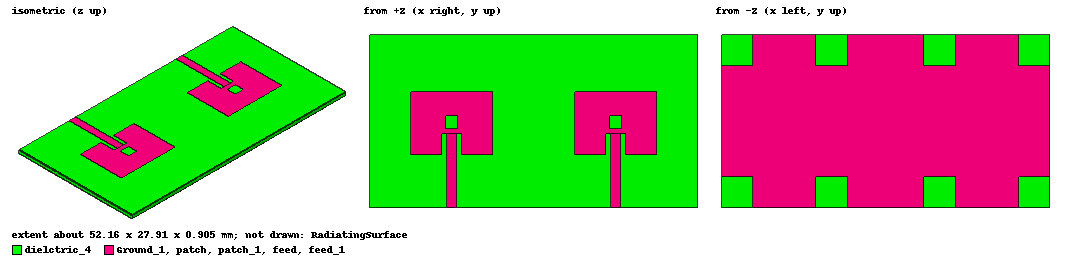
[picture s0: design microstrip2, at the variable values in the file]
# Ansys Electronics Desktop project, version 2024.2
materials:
  vacuum: permittivity=1
  copper: permeability=0.999991 conductivity=58000000
  FR4_epoxy: permittivity=4.4 dielectric_loss_tangent=0.02

design microstrip2 (HFSS, HFSS Modal Network, model units mm)
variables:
  T_diel = 0.8mm
  L = 9.99mm
  W = 13.04mm
  T = 0.035mm
  L_feed = 11.74mm
  W_feed = 1.53mm
  W_g = 2*W
  L_g = 1.5*L_feed+L
  T_g = T
  partial = 0.35
  L_offset = partial*L/2
  W_slot = 2*W_feed
  L_slot = L/2-L_offset
  G_slot_W = 5mm
  G_slot_L = 5mm
  G_slot_T = T_g
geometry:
  Ground = box(corner=(-W_g/2, 0mm, 0mm), size=(W_g, L_g, T_g))
  coordinate_system diel_bottom = origin=(0mm, 0mm, T_g) x=(1mm, 0mm, 0mm) y=(0mm, 1mm, 0mm)
  dielctric = box(corner=(-W_g/2, 0mm, 0mm), size=(W_g, L_g, T_diel)) in diel_bottom
  coordinate_system diel_top = origin=(0mm, 0mm, T_diel) x=(1mm, 0mm, 0mm) y=(0mm, 1mm, 0mm) in diel_bottom
  feed [copper] = box(corner=(-W_feed/2, 0mm, 0mm), size=(W_feed, L_feed, T)) in diel_top
  coordinate_system feed_point = origin=(0mm, L_feed, 0mm) x=(1mm, 0mm, 0mm) y=(0mm, 1mm, 0mm) in diel_top
  coordinate_system antenna_start = origin=(0, -L_slot, 0) x=(1mm, 0mm, 0mm) y=(0mm, 1mm, 0mm) in feed_point
  Box1 = box(corner=(-W_slot/2, 0mm, 0mm), size=(W_slot, L_slot, T)) in antenna_start
  patch [copper] = box(corner=(-W /2, 0, 0mm), size=(W, L, T)) in antenna_start
  patch.subtract(Box1)
  coordinate_system antenna2 = origin=(W_g/2, 0mm, 0mm) x=(1mm, 0mm, 0mm) y=(0mm, 1mm, 0mm)
  dielctric_1 = dielctric.duplicate_along_line(step=(W_g, 0mm, 0mm), total=4) in antenna2  # copies kept: 1
  Ground_1 [copper] = Ground.duplicate_along_line(step=(W_g, 0mm, 0mm), total=4) in antenna2  # copies kept: 1
  feed_1 [copper] = feed.duplicate_along_line(step=(W_g, 0mm, 0), total=4) in diel_top  # copies kept: 1
  patch_1 [copper] = patch.duplicate_along_line(step=(W_g, 0, 0mm), total=4) in diel_top  # copies kept: 1
  dielctric_4 [FR4_epoxy] = dielctric.duplicate_along_line(step=(0mm, -L_g, 0mm), total=2) in feed_point
  dielctric_1_1 = dielctric_1.duplicate_along_line(step=(0mm, -L_g, 0mm), total=2) in feed_point
  dielctric_4.unite(dielctric_1_1)
  dielctric_4.unite(dielctric, dielctric_1)
  coordinate_system G_slot1 = origin=(-W_g/2, 0mm, 0mm) x=(1mm, 0mm, 0mm) y=(0mm, 1mm, 0mm)
  Box2 = box(corner=(0mm, 0mm, 0mm), size=(G_slot_W, G_slot_L, G_slot_T)) in G_slot1
  Ground.subtract(Box2)
  coordinate_system G_slot2 = origin=(W_g/2, L_g, 0mm) x=(1mm, 0mm, 0mm) y=(0mm, 1mm, 0mm)
  Box3 = box(corner=(-G_slot_W, -G_slot_L, 0mm), size=(G_slot_W, G_slot_L, G_slot_T)) in G_slot2
  Ground.subtract(Box3)
  Box4 = box(corner=(0mm, -G_slot_L, 0mm), size=(G_slot_W, G_slot_L, G_slot_T)) in G_slot2
  Ground_1.subtract(Box4)
  coordinate_system G_slot3 = origin=(W_g*2, 0mm, 0mm) x=(1mm, 0mm, 0mm) y=(0mm, 1mm, 0mm) in G_slot1
  Box5 = box(corner=(-G_slot_W, 0mm, 0mm), size=(G_slot_W, G_slot_L, G_slot_T)) in G_slot3
  Ground_1.subtract(Box5)
  Box6 = box(corner=(-W_g /2, -L_g, 0mm), size=(W_g, L_g, T_diel)) in diel_bottom
  dielctric_4.subtract(Box6)
  coordinate_system diel_bottom2 = origin=(W_g, 0mm, 0mm) x=(1mm, 0mm, 0mm) y=(0mm, 1mm, 0mm) in diel_bottom
  Box7 = box(corner=(-W_g/2, -L_g, 0mm), size=(W_g, L_g, T_diel)) in diel_bottom2
  dielctric_4.subtract(Box7)
  coordinate_system GLOBAL2 = origin=(0mm, 0mm, -T_g) x=(1mm, 0mm, 0mm) y=(0mm, 1mm, 0mm) in diel_bottom2
  Rectangle1 = rectangle(corner=(-W_feed/2, 0mm, 0mm), z_size=T_diel+T_g+T, x_size=W_feed) in GLOBAL2
  Rectangle2 = rectangle(corner=(-W_feed/2, 0mm, 0mm), z_size=T_diel+T_g+T, x_size=W_feed)
  coordinate_system G_slot4 = origin=(0mm, L_g, 0mm) x=(1mm, 0mm, 0mm) y=(0mm, 1mm, 0mm) in G_slot1
  Box8 = box(corner=(0mm, -G_slot_L, 0mm), size=(G_slot_W, G_slot_L, G_slot_T)) in G_slot4
  coordinate_system G_slot5 = origin=(0mm, L_g, 0mm) x=(1mm, 0mm, 0mm) y=(0mm, 1mm, 0mm) in G_slot3
  Box9 = box(corner=(-G_slot_W, -G_slot_L, 0mm), size=(G_slot_W, G_slot_L, G_slot_T)) in G_slot5
  Box8_1 = Box8.copy()
  Box9_1 = Box9.copy()
  Ground.subtract(Box8_1, Box9_1)
  Ground_1.subtract(Box8, Box9)
  Box10 = box(corner=(-G_slot_W, -G_slot_L, 0mm), size=(G_slot_W, G_slot_L, G_slot_T)) in G_slot5
  Ground_1.unite(Box10)
  Box11 = box(corner=(0mm, -G_slot_L, 0mm), size=(G_slot_W, G_slot_L, G_slot_T)) in G_slot4
  Ground.unite(Box11)
  Box12 = box(corner=(-G_slot_W, 0, 0mm), size=(G_slot_W, G_slot_L, G_slot_T)) in G_slot3
  Ground_1.unite(Box12)
  Box13 = box(corner=(0mm, 0mm, 0mm), size=(G_slot_W, G_slot_L, G_slot_T)) in G_slot1
  Ground.unite(Box13)
  coordinate_system G_slot6 = origin=(0mm, W_g/2, 0mm) x=(1mm, 0mm, 0mm) y=(0mm, 1mm, 0mm) in G_slot1
  Box14 = box(corner=(0mm, -G_slot_L, 0mm), size=(G_slot_W, G_slot_L, G_slot_T)) in G_slot2
  Box15 = box(corner=(-G_slot_W, -G_slot_L, 0mm), size=(G_slot_W, G_slot_L, G_slot_T)) in G_slot2
  Ground_1.unite(Ground, Box14, Box15)
  Box16 = box(corner=(0, 0, 0mm), size=(2*W_g, 5mm, G_slot_T)) in G_slot6
  Ground_1.subtract(Box16)
  Box17 = box(corner=(0mm, 0mm, 0mm), size=(2*W_g, 5mm, G_slot_T)) in G_slot6
  Ground_1.unite(Box17)
  coordinate_system P_slot1 = origin=(W+W/2, L/16, T_g+T_diel) x=(1mm, 0mm, 0mm) y=(0mm, 1mm, 0mm) in G_slot6
  Box18 = box(corner=(0mm, 1mm, 0mm), size=(-2mm, -2mm, T)) in P_slot1
  coordinate_system P_slot2 = origin=(-W, 0mm, 0mm) x=(1mm, 0mm, 0mm) y=(0mm, 1mm, 0mm) in P_slot1
  Box19 = box(corner=(0mm, -1mm, 0mm), size=(2mm, 2mm, T)) in P_slot2
  patch.subtract(Box18, Box19)
  coordinate_system P_slot3 = origin=(W, 0mm, 0mm) x=(1mm, 0mm, 0mm) y=(0mm, 1mm, 0mm) in P_slot1
  Box20 = box(corner=(0mm, -1mm, 0mm), size=(2mm, 2mm, T)) in P_slot3
  coordinate_system P_slot4 = origin=(W, 0mm, 0mm) x=(1mm, 0mm, 0mm) y=(0mm, 1mm, 0mm) in P_slot3
  Box21 = box(corner=(0mm, -1mm, 0mm), size=(-2mm, 2mm, T)) in P_slot4
  patch_1.subtract(Box20, Box21)
  Box22 = box(corner=(1mm, -1mm, 0mm), size=(1mm, 2mm, T)) in P_slot2
  patch.unite(Box22)
  Box23 = box(corner=(-2mm, -1mm, 0mm), size=(1mm, 2mm, T)) in P_slot1
  patch.unite(Box23)
  Box24 = box(corner=(1mm, -1mm, 0mm), size=(1mm, 2mm, T)) in P_slot3
  patch_1.unite(Box24)
  Box25 = box(corner=(-1mm, 1mm, 0mm), size=(-1mm, -2mm, T)) in P_slot4
  patch_1.unite(Box25)
  coordinate_system P_slot5 = origin=(W/2, 0mm, 0mm) x=(1mm, 0mm, 0mm) y=(0mm, 1mm, 0mm) in P_slot2
  Box26 = box(corner=(-1mm, -1mm, 0mm), size=(2mm, 2mm, T*2)) in P_slot5
  patch.unite(Box26)
  coordinate_system P_slot6 = origin=(2*W, 0mm, 0mm) x=(1mm, 0mm, 0mm) y=(0mm, 1mm, 0mm) in P_slot5
  Box27 = box(corner=(-1mm, -1mm, 0mm), size=(2mm, 2mm, 2*T)) in P_slot6
  patch_1.unite(Box27)
  Box28 = box(corner=(0mm, 1mm, 0mm), size=(1mm, -2mm, T)) in P_slot2
  Box29 = box(corner=(-1mm, 1mm, 0mm), size=(1mm, -2mm, T)) in P_slot1
  patch.unite(Box28, Box29)
  Box30 = box(corner=(0mm, 1mm, 0mm), size=(1mm, -2mm, T)) in P_slot3
  Box31 = box(corner=(-1mm, 1mm, 0mm), size=(1mm, -2mm, T)) in P_slot4
  patch_1.unite(Box30, Box31)
  Box32 = box(corner=(0mm, -G_slot_W/2, 0mm), size=(G_slot_W*2, G_slot_L, G_slot_T)) in G_slot6
  Ground_1.subtract(Box32)
  Box33 = box(corner=(G_slot_L, -G_slot_W/2, 0mm), size=(G_slot_W, G_slot_L, T)) in G_slot6
  Ground_1.unite(Box33)
  Box34 = box(corner=(0mm, -G_slot_L/2, 0mm), size=(G_slot_W, G_slot_L, G_slot_T)) in G_slot6
  Ground_1.unite(Box34)
  Box35 = box(corner=(0mm, 0mm, 0mm), size=(G_slot_W, G_slot_L, G_slot_T)) in G_slot1
  Box36 = box(corner=(-G_slot_W, 0mm, 0mm), size=(G_slot_W, G_slot_L, G_slot_T)) in G_slot3
  Ground_1.subtract(Box35, Box36)
  Box37 = box(corner=(G_slot_W, 0mm, 0mm), size=(G_slot_W, G_slot_L, G_slot_T)) in G_slot1
  Box38 = box(corner=(-G_slot_W*2, 0mm, 0mm), size=(G_slot_W, G_slot_L, G_slot_T)) in G_slot3
  Ground_1.subtract(Box37, Box38)
  Box39 = box(corner=(-2*G_slot_W, 0mm, 0mm), size=(G_slot_W, G_slot_L, G_slot_T)) in G_slot3
  Box40 = box(corner=(G_slot_W, 0mm, 0mm), size=(G_slot_W, G_slot_L, G_slot_T)) in G_slot1
  Ground_1.unite(Box39, Box40)
  Box41 = box(corner=(-G_slot_W, -G_slot_L, 0mm), size=(2*G_slot_W, G_slot_L, G_slot_T)) in G_slot2
  Ground_1.subtract(Box41)
  Box42 = box(corner=(-G_slot_W, -G_slot_L, 0mm), size=(G_slot_W*2, G_slot_L, G_slot_T)) in G_slot2
  Ground_1.unite(Box42)
  Box43 = box(corner=(0, 0mm, 0mm), size=(G_slot_W, -G_slot_L, G_slot_T)) in G_slot4
  Box44 = box(corner=(0mm, 0mm, 0mm), size=(-G_slot_W, -G_slot_L, G_slot_T)) in G_slot5
  Ground_1.subtract(Box43, Box44)
  coordinate_system G_slot1.1 = origin=(3*G_slot_W, 0, 0mm) x=(1mm, 0mm, 0mm) y=(0mm, 1mm, 0mm) in G_slot1
  Box45 = box(corner=(0mm, 0mm, 0mm), size=(G_slot_W, G_slot_L, G_slot_T)) in G_slot1.1
  coordinate_system G_slot3.1 = origin=(-2*G_slot_W, 0, 0mm) x=(1mm, 0mm, 0mm) y=(0mm, 1mm, 0mm) in G_slot3
  Box46 = box(corner=(-2*G_slot_W, 0, 0mm), size=(G_slot_W, G_slot_L, G_slot_T)) in G_slot3.1
  Ground_1.subtract(Box45, Box46)
  coordinate_system G_slot4.1 = origin=(3*G_slot_W, 0, 0mm) x=(1mm, 0mm, 0mm) y=(0mm, 1mm, 0mm) in G_slot4
  Box47 = box(corner=(0mm, -G_slot_L, 0mm), size=(G_slot_W, G_slot_L, G_slot_T)) in G_slot4.1
  coordinate_system G_slot5.1 = origin=(-4*G_slot_W, 0mm, 0mm) x=(1mm, 0mm, 0mm) y=(0mm, 1mm, 0mm) in G_slot5
  Box48 = box(corner=(0mm, -G_slot_L, 0mm), size=(G_slot_W, G_slot_L, G_slot_T)) in G_slot5.1
  Ground_1.subtract(Box47, Box48)
  Box49 = box(corner=(-1mm, -1mm, 0mm), size=(2mm, 2mm, T*2)) in P_slot5
  patch.subtract(Box49)
  Box50 = box(corner=(-1mm, -1mm, 0mm), size=(2mm, 2mm, 2*T)) in P_slot6
  patch_1.subtract(Box50)
  RadiatingSurface [vacuum] = region(absolute_offset=14.285714mm on all sides) in P_slot6
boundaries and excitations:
  Open1: Radiation Objects=RadiatingSurface
  1: Lumped Port Objects=Rectangle2 LumpedPortType=Modal Modes{Mode1{IntLine{(0, 0, 0) -> (0, 0, 0.87)} CharImp=Zpi RenormImp=50ohm}} Impedance=50ohm
  2: Lumped Port Objects=Rectangle1 LumpedPortType=Modal Modes{Mode1{IntLine{(26.08, 0, 0) -> (26.08, 0, 0.87)} CharImp=Zpi RenormImp=50ohm}} Impedance=50ohm
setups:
  Setup1: HfssDriven MultipleAdaptiveFreqsSetup{Low=2GHz High=10GHz} MaxDeltaS=0.02 MaximumPasses=6 MinimumPasses=1 MinimumConvergedPasses=1 PercentRefinement=30 BasisOrder=1 PortAccuracy=2 DrivenSolverType="Direct Solver"
    sweep Sweep: 2GHz to 10GHz, 401 points; Type=Interpolating InterpTolerance=0.5 InterpMaxSolns=250 InterpUsePortImped=false PassivityErrorTolerance=0.0001
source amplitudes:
  1:1, 2:1: 1W 0deg
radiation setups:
  3D: Infinite Sphere Theta=0deg..180deg step 2deg Phi=-180deg..180deg step 2deg CoordSystem=P_slot6
  Elevation: Infinite Sphere Theta=-180deg..180deg step 1deg Phi=0deg..90deg step 90deg CoordSystem=P_slot6
  Azimuth: Infinite Sphere Theta=90deg..90deg step 0deg Phi=-180deg..180deg step 1deg CoordSystem=P_slot6
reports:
  Gain Plot 1: dB(GainTotal) vs Phi, Theta on Setup1 : LastAdaptive, 3D [Freq=6GHz]
  S Parameter Plot 1: dB(S(1,1)), dB(S(2,1)) vs Freq on Setup1 : Sweep
